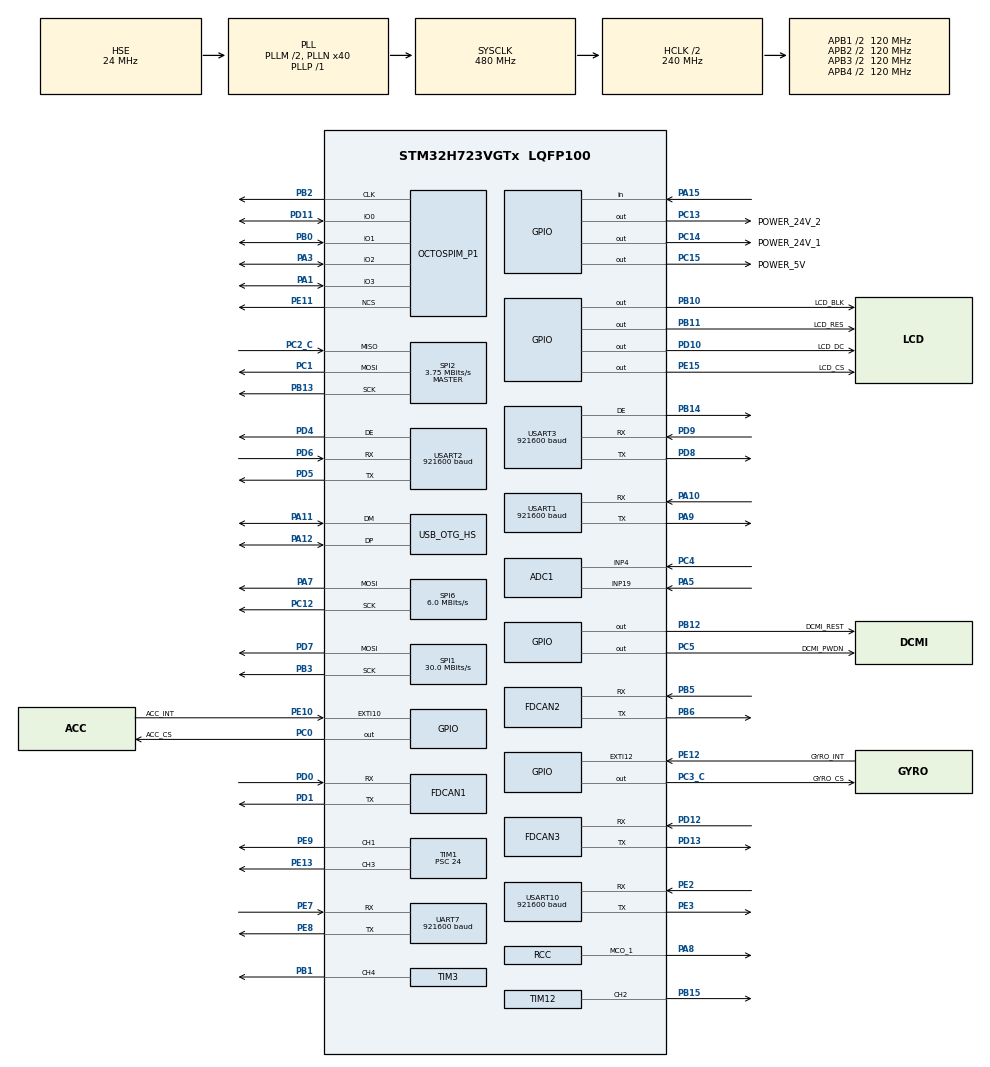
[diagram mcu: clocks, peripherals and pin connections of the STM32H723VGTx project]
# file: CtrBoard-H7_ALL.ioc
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ADC1.Channel-0\#ChannelRegularConversion=ADC_CHANNEL_4
ADC1.Channel-1\#ChannelRegularConversion=ADC_CHANNEL_19
ADC1.ClockPrescaler=ADC_CLOCK_ASYNC_DIV64
ADC1.ContinuousConvMode=ENABLE
ADC1.ConversionDataManagement=ADC_CONVERSIONDATA_DMA_CIRCULAR
ADC1.NbrOfConversion=2
ADC1.NbrOfConversionFlag=1
ADC1.OffsetNumber-0\#ChannelRegularConversion=ADC_OFFSET_NONE
ADC1.OffsetNumber-1\#ChannelRegularConversion=ADC_OFFSET_NONE
ADC1.OffsetSignedSaturation-0\#ChannelRegularConversion=DISABLE
ADC1.OffsetSignedSaturation-1\#ChannelRegularConversion=DISABLE
ADC1.Rank-0\#ChannelRegularConversion=1
ADC1.Rank-1\#ChannelRegularConversion=2
ADC1.SamplingTime-0\#ChannelRegularConversion=ADC_SAMPLETIME_32CYCLES_5
ADC1.SamplingTime-1\#ChannelRegularConversion=ADC_SAMPLETIME_32CYCLES_5
ADC1.master=1
CORTEX_M7.BaseAddress-Cortex_Memory_Protection_Unit_Region0_Settings=0x24000000
CORTEX_M7.CPU_DCache=Disabled
CORTEX_M7.CPU_ICache=Disabled
CORTEX_M7.Enable-Cortex_Memory_Protection_Unit_Region0_Settings=MPU_REGION_ENABLE
CORTEX_M7.IsBufferable-Cortex_Memory_Protection_Unit_Region0_Settings=MPU_ACCESS_BUFFERABLE
CORTEX_M7.IsCacheable-Cortex_Memory_Protection_Unit_Region0_Settings=MPU_ACCESS_CACHEABLE
CORTEX_M7.MPU_Control=__NULL
CORTEX_M7.Size-Cortex_Memory_Protection_Unit_Region0_Settings=MPU_REGION_SIZE_512B
CORTEX_M7.TypeExtField-Cortex_Memory_Protection_Unit_Region0_Settings=MPU_TEX_LEVEL1
Dma.ADC1.0.Direction=DMA_PERIPH_TO_MEMORY
Dma.ADC1.0.EventEnable=DISABLE
Dma.ADC1.0.FIFOMode=DMA_FIFOMODE_DISABLE
Dma.ADC1.0.Instance=DMA1_Stream0
Dma.ADC1.0.MemDataAlignment=DMA_MDATAALIGN_HALFWORD
Dma.ADC1.0.MemInc=DMA_MINC_ENABLE
Dma.ADC1.0.Mode=DMA_CIRCULAR
Dma.ADC1.0.PeriphDataAlignment=DMA_PDATAALIGN_HALFWORD
Dma.ADC1.0.PeriphInc=DMA_PINC_DISABLE
Dma.ADC1.0.Polarity=HAL_DMAMUX_REQ_GEN_RISING
Dma.ADC1.0.Priority=DMA_PRIORITY_LOW
Dma.ADC1.0.RequestNumber=1
Dma.ADC1.0.SignalID=NONE
Dma.ADC1.0.SyncEnable=DISABLE
Dma.ADC1.0.SyncPolarity=HAL_DMAMUX_SYNC_NO_EVENT
Dma.ADC1.0.SyncRequestNumber=1
Dma.ADC1.0.SyncSignalID=NONE
Dma.Request0=ADC1
FDCAN1.CalculateBaudRateNominal=1000000
FDCAN1.CalculateTimeBitNominal=1000
FDCAN1.CalculateTimeQuantumNominal=200.0
FDCAN1.NominalPrescaler=24
FDCAN1.NominalTimeSeg1=2
FDCAN1.RxFifo0ElmtsNbr=32
FDCAN1.StdFiltersNbr=1
FDCAN1.TxFifoQueueElmtsNbr=32
FDCAN2.CalculateBaudRateNominal=1000000
FDCAN2.CalculateTimeBitNominal=1000
FDCAN2.CalculateTimeQuantumNominal=200.0
FDCAN2.MessageRAMOffset=0x406
FDCAN2.NominalPrescaler=24
FDCAN2.RxFifo0ElmtsNbr=32
FDCAN2.StdFiltersNbr=1
FDCAN2.TxFifoQueueElmtsNbr=32
FDCAN3.CalculateBaudRateNominal=1000000
FDCAN3.CalculateTimeBitNominal=1000
FDCAN3.CalculateTimeQuantumNominal=200.0
FDCAN3.MessageRAMOffset=0x812
FDCAN3.NominalPrescaler=24
FDCAN3.RxFifo0ElmtsNbr=32
FDCAN3.StdFiltersNbr=1
FDCAN3.TxFifoQueueElmtsNbr=32
FREERTOS.INCLUDE_eTaskGetState=1
FREERTOS.INCLUDE_uxTaskGetStackHighWaterMark=1
FREERTOS.INCLUDE_vTaskDelayUntil=1
FREERTOS.INCLUDE_xQueueGetMutexHolder=1
FREERTOS.INCLUDE_xTaskGetCurrentTaskHandle=1
FREERTOS.INCLUDE_xTimerPendFunctionCall=1
FREERTOS.Tasks01=defaultTask,0,128,StartDefaultTask,Default,NULL,Dynamic,NULL,NULL
FREERTOS.configENABLE_FPU=1
FREERTOS.configUSE_COUNTING_SEMAPHORES=1
FREERTOS.configUSE_RECURSIVE_MUTEXES=1
FREERTOS.configUSE_TIMERS=1
FREERTOS.configUSE_TRACE_FACILITY=1
Mcu.Family=STM32H7
Mcu.Name=STM32H723VGTx
Mcu.Package=LQFP100
NVIC.DMA1_Stream0_IRQn=true\:5\:0\:false\:false\:true\:false\:false\:true\:true
NVIC.FDCAN1_IT0_IRQn=true\:5\:0\:false\:false\:true\:true\:true\:true\:true
NVIC.FDCAN1_IT1_IRQn=true\:5\:0\:false\:false\:true\:true\:true\:true\:true
NVIC.FDCAN2_IT0_IRQn=true\:5\:0\:false\:false\:true\:true\:true\:true\:true
NVIC.FDCAN2_IT1_IRQn=true\:5\:0\:false\:false\:true\:true\:true\:true\:true
NVIC.FDCAN3_IT0_IRQn=true\:5\:0\:false\:false\:true\:true\:true\:true\:true
NVIC.FDCAN3_IT1_IRQn=true\:5\:0\:false\:false\:true\:true\:true\:true\:true
NVIC.OTG_HS_IRQn=true\:5\:0\:false\:false\:true\:true\:false\:true\:true
NVIC.PriorityGroup=NVIC_PRIORITYGROUP_4
NVIC.TIM23_IRQn=true\:15\:0\:false\:false\:true\:false\:false\:true\:true
NVIC.TimeBase=TIM23_IRQn
NVIC.TimeBaseIP=TIM23
NVIC.UART7_IRQn=true\:5\:0\:true\:false\:true\:false\:true\:true\:true
NVIC.USART10_IRQn=true\:5\:0\:true\:false\:true\:false\:true\:true\:true
NVIC.USART1_IRQn=true\:5\:0\:true\:false\:true\:false\:true\:true\:true
NVIC.USART2_IRQn=true\:5\:0\:true\:false\:true\:false\:true\:true\:true
NVIC.USART3_IRQn=true\:5\:0\:true\:false\:true\:false\:true\:true\:true
OCTOSPI2.ClockMode=HAL_OSPI_CLOCK_MODE_3
OCTOSPI2.ClockPrescaler=3
OCTOSPI2.DeviceSize=23
OCTOSPI2.DeviceType=SPI_DEVICE_FLASH
OCTOSPI2.FifoThreshold=8
OCTOSPI2.SampleShifting=HAL_OSPI_SAMPLE_SHIFTING_HALFCYCLE
PA1.Mode=OCTOSPI2_IOL_Port1L
PA1.Signal=OCTOSPIM_P1_IO3
PA10.Mode=Asynchronous
PA10.Signal=USART1_RX
PA11.Mode=Device_Only_FS
PA11.Signal=USB_OTG_HS_DM
PA12.Mode=Device_Only_FS
PA12.Signal=USB_OTG_HS_DP
PA13(JTMS/SWDIO).Mode=Serial_Wire
PA13(JTMS/SWDIO).Signal=DEBUG_JTMS-SWDIO
PA14(JTCK/SWCLK).Mode=Serial_Wire
PA14(JTCK/SWCLK).Signal=DEBUG_JTCK-SWCLK
PA15(JTDI).Signal=GPIO_Input
PA3.Mode=OCTOSPI2_IOL_Port1L
PA3.Signal=OCTOSPIM_P1_IO2
PA5.Signal=ADCx_INP19
PA7.Mode=TX_Only_Simplex_Unidirect_Master
PA7.Signal=SPI6_MOSI
PA8.Mode=Clock-out-1
PA8.Signal=RCC_MCO_1
PA9.Mode=Asynchronous
PA9.Signal=USART1_TX
PB0.Mode=OCTOSPI2_IOL_Port1L
PB0.Signal=OCTOSPIM_P1_IO1
PB1.Signal=S_TIM3_CH4
PB10.GPIO_Label=LCD_BLK
PB10.Signal=GPIO_Output
PB11.GPIO_Label=LCD_RES
PB11.Signal=GPIO_Output
PB12.GPIO_Label=DCMI_REST
PB12.GPIO_PuPd=GPIO_PULLUP
PB12.GPIO_Speed=GPIO_SPEED_FREQ_VERY_HIGH
PB12.PinState=GPIO_PIN_SET
PB12.Signal=GPIO_Output
PB13.GPIO_Speed=GPIO_SPEED_FREQ_VERY_HIGH
PB13.Mode=Full_Duplex_Master
PB13.Signal=SPI2_SCK
PB14.Mode=Hardware Flow Control (RS485)
PB14.Signal=USART3_DE
PB15.Signal=S_TIM12_CH2
PB2.Mode=O2_P1_CLK
PB2.Signal=OCTOSPIM_P1_CLK
PB3(JTDO/TRACESWO).GPIO_Speed=GPIO_SPEED_FREQ_VERY_HIGH
PB3(JTDO/TRACESWO).Mode=TX_Only_Simplex_Unidirect_Master
PB3(JTDO/TRACESWO).Signal=SPI1_SCK
PB5.Mode=FDCAN_Activate
PB5.Signal=FDCAN2_RX
PB6.Mode=FDCAN_Activate
PB6.Signal=FDCAN2_TX
PC0.GPIO_Label=ACC_CS
PC0.GPIO_Speed=GPIO_SPEED_FREQ_VERY_HIGH
PC0.PinState=GPIO_PIN_SET
PC0.Signal=GPIO_Output
PC1.GPIO_Speed=GPIO_SPEED_FREQ_VERY_HIGH
PC1.Mode=Full_Duplex_Master
PC1.Signal=SPI2_MOSI
PC12.Mode=TX_Only_Simplex_Unidirect_Master
PC12.Signal=SPI6_SCK
PC13.GPIO_Label=POWER_24V_2
PC13.PinState=GPIO_PIN_SET
PC13.Signal=GPIO_Output
PC14-OSC32_IN.GPIO_Label=POWER_24V_1
PC14-OSC32_IN.PinState=GPIO_PIN_SET
PC14-OSC32_IN.Signal=GPIO_Output
PC15-OSC32_OUT.GPIO_Label=POWER_5V
PC15-OSC32_OUT.PinState=GPIO_PIN_SET
PC15-OSC32_OUT.Signal=GPIO_Output
PC2_C.GPIO_Speed=GPIO_SPEED_FREQ_VERY_HIGH
PC2_C.Mode=Full_Duplex_Master
PC2_C.Signal=SPI2_MISO
PC3_C.GPIO_Label=GYRO_CS
PC3_C.GPIO_Speed=GPIO_SPEED_FREQ_VERY_HIGH
PC3_C.PinState=GPIO_PIN_SET
PC3_C.Signal=GPIO_Output
PC4.Signal=ADCx_INP4
PC5.GPIO_Label=DCMI_PWDN
PC5.GPIO_PuPd=GPIO_NOPULL
PC5.GPIO_Speed=GPIO_SPEED_FREQ_VERY_HIGH
PC5.PinState=GPIO_PIN_SET
PC5.Signal=GPIO_Output
PD0.Mode=FDCAN_Activate
PD0.Signal=FDCAN1_RX
PD1.Mode=FDCAN_Activate
PD1.Signal=FDCAN1_TX
PD10.GPIO_Label=LCD_DC
PD10.Signal=GPIO_Output
PD11.Mode=OCTOSPI2_IOL_Port1L
PD11.Signal=OCTOSPIM_P1_IO0
PD12.Mode=FDCAN_Activate
PD12.Signal=FDCAN3_RX
PD13.Mode=FDCAN_Activate
PD13.Signal=FDCAN3_TX
PD4.Mode=Hardware Flow Control (RS485)
PD4.Signal=USART2_DE
PD5.Mode=Asynchronous
PD5.Signal=USART2_TX
PD6.Mode=Asynchronous
PD6.Signal=USART2_RX
PD7.GPIO_Speed=GPIO_SPEED_FREQ_VERY_HIGH
PD7.Mode=TX_Only_Simplex_Unidirect_Master
PD7.Signal=SPI1_MOSI
PD8.Mode=Asynchronous
PD8.Signal=USART3_TX
PD9.Mode=Asynchronous
PD9.Signal=USART3_RX
PE10.GPIO_Label=ACC_INT
PE10.Signal=GPXTI10
PE11.Mode=OCTOSPI2_Port1_NCS
PE11.Signal=OCTOSPIM_P1_NCS
PE12.GPIO_Label=GYRO_INT
PE12.Signal=GPXTI12
PE13.Signal=S_TIM1_CH3
PE15.GPIO_Label=LCD_CS
PE15.Signal=GPIO_Output
PE2.Mode=Asynchronous
PE2.Signal=USART10_RX
PE3.Mode=Asynchronous
PE3.Signal=USART10_TX
PE7.Mode=Asynchronous
PE7.Signal=UART7_RX
PE8.Mode=Asynchronous
PE8.Signal=UART7_TX
PE9.Signal=S_TIM1_CH1
PH0-OSC_IN.Mode=HSE-External-Oscillator
PH0-OSC_IN.Signal=RCC_OSC_IN
PH1-OSC_OUT.Mode=HSE-External-Oscillator
PH1-OSC_OUT.Signal=RCC_OSC_OUT
ProjectManager.HeapSize=0x200
ProjectManager.StackSize=0x800
ProjectManager.TargetToolchain=Makefile
RCC.ADCFreq_Value=96000000
RCC.APB1Freq_Value=120000000
RCC.APB2Freq_Value=120000000
RCC.APB3Freq_Value=120000000
RCC.APB4Freq_Value=120000000
RCC.CortexFreq_Value=480000000
RCC.D1PPRE=RCC_APB3_DIV2
RCC.D2PPRE1=RCC_APB1_DIV2
RCC.D2PPRE2=RCC_APB2_DIV2
RCC.D3PPRE=RCC_APB4_DIV2
RCC.DIVM1=2
RCC.DIVM2=2
RCC.DIVN1=40
RCC.DIVN2=16
RCC.DIVP1=1
RCC.DIVQ1=4
RCC.EnbaleCSS=false
RCC.HCLKFreq_Value=240000000
RCC.HPRE=RCC_HCLK_DIV2
RCC.HSE_VALUE=24000000
RCC.PLL2FRACN=0
RCC.PLL2_VCI_Range-AdvancedSettings=RCC_PLL2VCIRANGE_0
RCC.PLL2_VCO_SEL-AdvancedSettings=RCC_PLL2VCOWIDE
RCC.PLL3FRACN=0
RCC.PLL3_VCO_SEL-AdvancedSettings=RCC_PLL3VCOMEDIUM
RCC.PLLFRACN=0
RCC.PLLSourceVirtual=RCC_PLLSOURCE_HSE
RCC.SPI6CLockSelection=RCC_SPI6CLKSOURCE_HSE
RCC.SYSCLKFreq_VALUE=480000000
RCC.SYSCLKSource=RCC_SYSCLKSOURCE_PLLCLK
RCC.USBCLockSelection=RCC_USBCLKSOURCE_HSI48
RCC.USBFreq_Value=48000000
SH.ADCx_INP19.0=ADC1_INP19,IN19-Single-Ended
SH.ADCx_INP4.0=ADC1_INP4,IN4-Single-Ended
SH.S_TIM12_CH2.0=TIM12_CH2,PWM Generation2 CH2
SH.S_TIM1_CH1.0=TIM1_CH1,PWM Generation1 CH1
SH.S_TIM1_CH3.0=TIM1_CH3,PWM Generation3 CH3
SH.S_TIM3_CH4.0=TIM3_CH4,PWM Generation4 CH4
SPI1.BaudRatePrescaler=SPI_BAUDRATEPRESCALER_4
SPI1.CLKPolarity=SPI_POLARITY_HIGH
SPI1.CalculateBaudRate=30.0 MBits/s
SPI1.DataSize=SPI_DATASIZE_8BIT
SPI1.Direction=SPI_DIRECTION_2LINES_TXONLY
SPI1.Mode=SPI_MODE_MASTER
SPI1.VirtualType=VM_MASTER
SPI2.BaudRatePrescaler=SPI_BAUDRATEPRESCALER_32
SPI2.CLKPhase=SPI_PHASE_2EDGE
SPI2.CLKPolarity=SPI_POLARITY_HIGH
SPI2.CalculateBaudRate=3.75 MBits/s
SPI2.DataSize=SPI_DATASIZE_8BIT
SPI2.Direction=SPI_DIRECTION_2LINES
SPI2.Mode=SPI_MODE_MASTER
SPI2.VirtualType=VM_MASTER
SPI6.BaudRatePrescaler=SPI_BAUDRATEPRESCALER_4
SPI6.CLKPhase=SPI_PHASE_2EDGE
SPI6.CalculateBaudRate=6.0 MBits/s
SPI6.DataSize=SPI_DATASIZE_8BIT
SPI6.Direction=SPI_DIRECTION_2LINES_TXONLY
SPI6.Mode=SPI_MODE_MASTER
SPI6.VirtualType=VM_MASTER
TIM1.Channel-PWM\ Generation1\ CH1=TIM_CHANNEL_1
TIM1.Channel-PWM\ Generation3\ CH3=TIM_CHANNEL_3
TIM1.Period=10000
TIM1.Prescaler=24
TIM1.Pulse-PWM\ Generation1\ CH1=5000
TIM1.Pulse-PWM\ Generation3\ CH3=5000
TIM12.Channel-PWM\ Generation2\ CH2=TIM_CHANNEL_2
TIM12.Period=2000-1
TIM12.Prescaler=24-1
TIM2.Prescaler=240 - 1
TIM3.AutoReloadPreload=TIM_AUTORELOAD_PRELOAD_ENABLE
TIM3.Channel-PWM\ Generation4\ CH4=TIM_CHANNEL_4
TIM3.Period=10000-1
TIM3.Prescaler=24-1
UART7.BaudRate=921600
USART1.BaudRate=921600
USART1.VirtualMode-Asynchronous=VM_ASYNC
USART10.BaudRate=921600
USART10.VirtualMode=VM_ASYNC
USART2.BaudRate=921600
USART2.VirtualMode-Asynchronous=VM_ASYNC
USART2.VirtualMode-Hardware\ Flow\ Control\ (RS485)=VM_ASYNC
USART3.BaudRate=921600
USART3.VirtualMode-Asynchronous=VM_ASYNC
USART3.VirtualMode-Hardware\ Flow\ Control\ (RS485)=VM_ASYNC
USB_DEVICE.CLASS_NAME_HS=CDC
USB_DEVICE.VirtualMode=Cdc
USB_DEVICE.VirtualModeHS=Cdc_HS
USB_OTG_HS.VirtualMode-Device_Only_FS=Device_Only_FS
VP_FREERTOS_VS_CMSIS_V1.Mode=CMSIS_V1
VP_OCTOSPI2_VS_quad.Mode=quad_mode
VP_SYS_VS_tim23.Mode=TIM23
VP_TIM2_VS_ClockSourceINT.Mode=Internal
VP_USB_DEVICE_VS_USB_DEVICE_CDC_HS.Mode=CDC_HS
board=custom

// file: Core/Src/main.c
/* USER CODE BEGIN Header */
/**
  ******************************************************************************
  * @file           : main.c
  * @brief          : Main program body
  ******************************************************************************
  * @attention
  *
  * Copyright (c) 2024 STMicroelectronics.
  * All rights reserved.
  *
  * This software is licensed under terms that can be found in the LICENSE file
  * in the root directory of this software component.
  * If no LICENSE file comes with this software, it is provided AS-IS.
  *
  ******************************************************************************
  */
/* USER CODE END Header */
#include "main.h"
#include "adc.h"
#include "dma.h"
#include "fdcan.h"
#include "octospi.h"
#include "spi.h"
#include "tim.h"
#include "usart.h"
#include "usbd_tasks.h"
#include "gpio.h"

/* USER CODE BEGIN Includes */
#include "FreeRTOS.h"
#include "task.h"
#include "queue.h"
#include "led_task.h"
#include "imu_task.h"
#include "usbd_tasks.h"
#include "usbd_gs_can.h"
#include "FreeRTOS.h"
#include "task.h"
#include "vofa.h"
#include "w25q64.h"
#include <stdio.h>

/* USER CODE END Includes */

/* USER CODE BEGIN PV */
#define W25Qxx_NumByteToTest   	32*1024

int32_t OSPI_Status;

uint8_t  W25Qxx_WriteBuffer[W25Qxx_NumByteToTest];
uint8_t  W25Qxx_ReadBuffer[W25Qxx_NumByteToTest];

static TaskHandle_t xCreatedLedTask;
static TaskHandle_t xCreatedImuTask;
static TaskHandle_t xCreatedGsCanQueueToHostTask;
static TaskHandle_t xCreatedGsCanQueueFromHostTask;
extern USBD_GS_CAN_HandleTypeDef hGS_CAN;
/* USER CODE END PV */

void SystemClock_Config(void);
void MX_FREERTOS_Init(void);

int main(void)
{

  /* MCU Configuration--------------------------------------------------------*/

  /* Reset of all peripherals, Initializes the Flash interface and the Systick. */
  HAL_Init();

  /* Configure the system clock */
  SystemClock_Config();

  /* Initialize all configured peripherals */
  MX_GPIO_Init();
  MX_DMA_Init();
  MX_ADC1_Init();
  MX_TIM12_Init();
  MX_SPI1_Init();
  MX_SPI6_Init();
  MX_SPI2_Init();
  MX_TIM3_Init();
  MX_USART1_UART_Init();
  MX_USART2_UART_Init();
  MX_USART3_UART_Init();
  MX_UART7_Init();
  MX_USART10_UART_Init();
  MX_FDCAN1_Init();
  MX_FDCAN2_Init();
  MX_FDCAN3_Init();
  MX_TIM1_Init();
  MX_TIM2_Init();
  MX_OCTOSPI2_Init();
  /* USER CODE BEGIN 2 */
    HAL_TIM_Base_Start(&htim2);
    usbd_tasks_init();

    hGS_CAN.queue_from_hostHandle = xQueueCreate(QUEUE_SIZE_HOST_TO_DEV, GS_HOST_FRAME_SIZE);
    hGS_CAN.queue_to_hostHandle = xQueueCreate(QUEUE_SIZE_DEV_TO_HOST, GS_HOST_FRAME_SIZE);

    xTaskCreate(led_task, "led task", configMINIMAL_STACK_SIZE, NULL, (tskIDLE_PRIORITY + 1), &xCreatedLedTask);
    xTaskCreate(imu_task, "imu task", configMINIMAL_STACK_SIZE * 8, NULL, (tskIDLE_PRIORITY + 6), &xCreatedImuTask);
    xTaskCreate(usbd_gs_can_queue_to_host_task, "gs_can to task", configMINIMAL_STACK_SIZE, NULL, (tskIDLE_PRIORITY + 5), &xCreatedGsCanQueueToHostTask);
    xTaskCreate(usbd_gs_can_queue_from_host_task, "gs_can from task", configMINIMAL_STACK_SIZE, NULL, (tskIDLE_PRIORITY + 5), &xCreatedGsCanQueueFromHostTask);

  /* Start scheduler */
    vTaskStartScheduler();

  /* We should never get here as control is now taken by the scheduler */
  /* Infinite loop */
  /* USER CODE BEGIN WHILE */
  while (1)
  {
//	  vofa_start();

    /* USER CODE END WHILE */

  }
}

void SystemClock_Config(void)
{
  RCC_OscInitTypeDef RCC_OscInitStruct = {0};
  RCC_ClkInitTypeDef RCC_ClkInitStruct = {0};

  /** Supply configuration update enable
  */
  HAL_PWREx_ConfigSupply(PWR_LDO_SUPPLY);

  /** Configure the main internal regulator output voltage
  */
  __HAL_PWR_VOLTAGESCALING_CONFIG(PWR_REGULATOR_VOLTAGE_SCALE0);

  while(!__HAL_PWR_GET_FLAG(PWR_FLAG_VOSRDY)) {}

  /** Initializes the RCC Oscillators according to the specified parameters
  * in the RCC_OscInitTypeDef structure.
  */
  RCC_OscInitStruct.OscillatorType = RCC_OSCILLATORTYPE_HSI48|RCC_OSCILLATORTYPE_HSI
                              |RCC_OSCILLATORTYPE_HSE;
  RCC_OscInitStruct.HSEState = RCC_HSE_ON;
  RCC_OscInitStruct.HSIState = RCC_HSI_DIV1;
  RCC_OscInitStruct.HSICalibrationValue = 64;
  RCC_OscInitStruct.HSI48State = RCC_HSI48_ON;
  RCC_OscInitStruct.PLL.PLLState = RCC_PLL_ON;
  RCC_OscInitStruct.PLL.PLLSource = RCC_PLLSOURCE_HSE;
  RCC_OscInitStruct.PLL.PLLM = 2;
  RCC_OscInitStruct.PLL.PLLN = 40;
  RCC_OscInitStruct.PLL.PLLP = 1;
  RCC_OscInitStruct.PLL.PLLQ = 4;
  RCC_OscInitStruct.PLL.PLLR = 2;
  RCC_OscInitStruct.PLL.PLLRGE = RCC_PLL1VCIRANGE_3;
  RCC_OscInitStruct.PLL.PLLVCOSEL = RCC_PLL1VCOWIDE;
  RCC_OscInitStruct.PLL.PLLFRACN = 0;
  if (HAL_RCC_OscConfig(&RCC_OscInitStruct) != HAL_OK)
  {
    Error_Handler();
  }

  /** Initializes the CPU, AHB and APB buses clocks
  */
  RCC_ClkInitStruct.ClockType = RCC_CLOCKTYPE_HCLK|RCC_CLOCKTYPE_SYSCLK
                              |RCC_CLOCKTYPE_PCLK1|RCC_CLOCKTYPE_PCLK2
                              |RCC_CLOCKTYPE_D3PCLK1|RCC_CLOCKTYPE_D1PCLK1;
  RCC_ClkInitStruct.SYSCLKSource = RCC_SYSCLKSOURCE_PLLCLK;
  RCC_ClkInitStruct.SYSCLKDivider = RCC_SYSCLK_DIV1;
  RCC_ClkInitStruct.AHBCLKDivider = RCC_HCLK_DIV2;
  RCC_ClkInitStruct.APB3CLKDivider = RCC_APB3_DIV2;
  RCC_ClkInitStruct.APB1CLKDivider = RCC_APB1_DIV2;
  RCC_ClkInitStruct.APB2CLKDivider = RCC_APB2_DIV2;
  RCC_ClkInitStruct.APB4CLKDivider = RCC_APB4_DIV2;

  if (HAL_RCC_ClockConfig(&RCC_ClkInitStruct, FLASH_LATENCY_3) != HAL_OK)
  {
    Error_Handler();
  }
  HAL_RCC_MCOConfig(RCC_MCO1, RCC_MCO1SOURCE_HSI, RCC_MCODIV_1);
}

void HAL_TIM_PeriodElapsedCallback(TIM_HandleTypeDef *htim)
{
  if (htim->Instance == TIM23) {
    HAL_IncTick();
  }
}

void Error_Handler(void)
{
  __disable_irq();
  while (1)
  {
  }
}

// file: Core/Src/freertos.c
#include "FreeRTOS.h"
#include "task.h"
#include "main.h"

/* GetIdleTaskMemory prototype (linked to static allocation support) */
void vApplicationGetIdleTaskMemory( StaticTask_t **ppxIdleTaskTCBBuffer, StackType_t **ppxIdleTaskStackBuffer, uint32_t *pulIdleTaskStackSize );

/* GetTimerTaskMemory prototype (linked to static allocation support) */
void vApplicationGetTimerTaskMemory( StaticTask_t **ppxTimerTaskTCBBuffer, StackType_t **ppxTimerTaskStackBuffer, uint32_t *pulTimerTaskStackSize );

static StaticTask_t xIdleTaskTCBBuffer;
static StackType_t xIdleStack[configMINIMAL_STACK_SIZE];

void vApplicationGetIdleTaskMemory( StaticTask_t **ppxIdleTaskTCBBuffer, StackType_t **ppxIdleTaskStackBuffer, uint32_t *pulIdleTaskStackSize )
{
  *ppxIdleTaskTCBBuffer = &xIdleTaskTCBBuffer;
  *ppxIdleTaskStackBuffer = &xIdleStack[0];
  *pulIdleTaskStackSize = configMINIMAL_STACK_SIZE;
  /* place for user code */
}

static StaticTask_t xTimerTaskTCBBuffer;
static StackType_t xTimerStack[configTIMER_TASK_STACK_DEPTH];

void vApplicationGetTimerTaskMemory( StaticTask_t **ppxTimerTaskTCBBuffer, StackType_t **ppxTimerTaskStackBuffer, uint32_t *pulTimerTaskStackSize )
{
  *ppxTimerTaskTCBBuffer = &xTimerTaskTCBBuffer;
  *ppxTimerTaskStackBuffer = &xTimerStack[0];
  *pulTimerTaskStackSize = configTIMER_TASK_STACK_DEPTH;
  /* place for user code */
}
